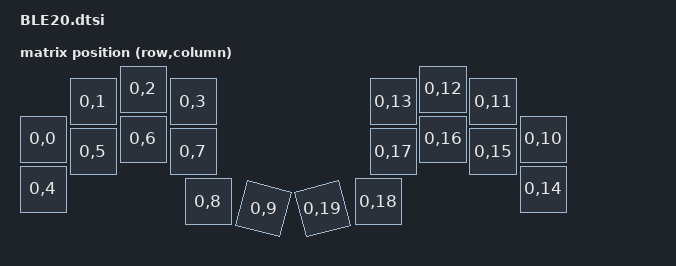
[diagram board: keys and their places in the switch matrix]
/*
 * Copyright (c) 2021 The ZMK Contributors
 *
 * SPDX-License-Identifier: MIT
 */

#include <dt-bindings/zmk/matrix_transform.h>
#include <physical_layouts.dtsi>


/ {

    chosen {
//        zmk,kscan = &kscan0;
//        zmk,matrix_transform = &default_transform;
        zmk,physical-layout = &default_layout;
    };

    default_transform: keymap_transform_0 {
        compatible = "zmk,matrix-transform";
        columns = <20>;
        rows = <1>;
        map = <
        //     0        1        2        3                            4        5        6        7
            RC(0,0)  RC(0,1)  RC(0,2)  RC(0,3)                      RC(0,13) RC(0,12) RC(0,11) RC(0,10)
        //     8        9        10       11                           12       13       14       15     
            RC(0,4)  RC(0,5)  RC(0,6)  RC(0,7)                      RC(0,17) RC(0,16) RC(0,15) RC(0,14)
        //                                16       17         18       19
                                       RC(0,8)  RC(0,9)    RC(0,19) RC(0,18)
        >;
    };

        default_layout: default_layout {
        compatible = "zmk,physical-layout";
        display-name = "Default Layout";
        transform = <&default_transform>;
        kscan = <&kscan0>;

                keys  //             w   h    x    y     rot    rx    ry
            = <&key_physical_attrs 100 100    0  100       0     0     0>
            , <&key_physical_attrs 100 100  100   25       0     0     0>
            , <&key_physical_attrs 100 100  200    0       0     0     0>
            , <&key_physical_attrs 100 100  300   25       0     0     0>
            , <&key_physical_attrs 100 100  700   25       0     0     0>
            , <&key_physical_attrs 100 100  800    0       0     0     0>
            , <&key_physical_attrs 100 100  900   25       0     0     0>
            , <&key_physical_attrs 100 100 1000  100       0     0     0>
            , <&key_physical_attrs 100 100    0  200       0     0     0>
            , <&key_physical_attrs 100 100  100  125       0     0     0>
            , <&key_physical_attrs 100 100  200  100       0     0     0>
            , <&key_physical_attrs 100 100  300  125       0     0     0>
            , <&key_physical_attrs 100 100  700  125       0     0     0>
            , <&key_physical_attrs 100 100  800  100       0     0     0>
            , <&key_physical_attrs 100 100  900  125       0     0     0>
            , <&key_physical_attrs 100 100 1000  200       0     0     0>
            , <&key_physical_attrs 100 100  330  225       0     0     0>
            , <&key_physical_attrs 100 100  430  225    1500   430   325>
            , <&key_physical_attrs 100 100  570  225  (-1500)  670   325>
            , <&key_physical_attrs 100 100  670  225       0     0     0>
            ;

    };

};
